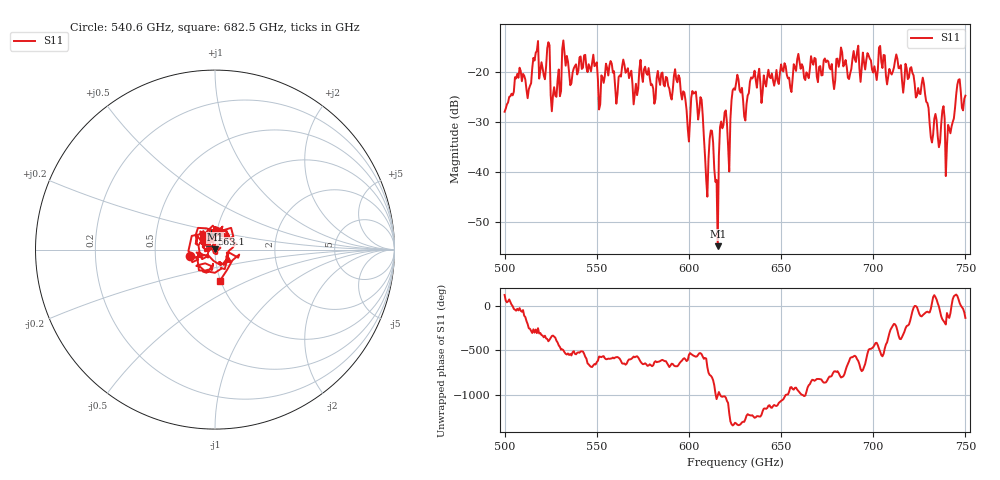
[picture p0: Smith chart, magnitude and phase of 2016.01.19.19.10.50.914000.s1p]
!Created with skrf (http://scikit-rf.org).
# GHz S RI R 50.0
!freq ReS11 ImS11
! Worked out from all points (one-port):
!   401 points, 500 GHz to 750 GHz, reference 50 ohm
!   lowest |S11| = -55.0 dB at 615.6 GHz (marker M1), VSWR 1.00, Z = 50 + j0.174 ohm
!   |S11| at or under -10 dB: start of sweep to end of sweep
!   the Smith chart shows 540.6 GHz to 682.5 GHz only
!   S11 on the Smith chart (normalised r, x): 540.6 GHz: 0.76, -0.06; 563.1 GHz: 0.95, +0.17; 682.5 GHz: 0.99, -0.36
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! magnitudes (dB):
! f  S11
! 500 GHz  -27.9
! 507.5 GHz  -21.1
! 513.1 GHz  -23.4
! 516.9 GHz  -16.1
! 523.1 GHz  -15.2
! 526.2 GHz  -24.6
! 531.2 GHz  -15.3
! 540.6 GHz  -17.0
! 562.5 GHz  -20.6
! 563.1 GHz  -20.8
! 593.8 GHz  -22.0
! 599.4 GHz  -31.3
! 606.2 GHz  -25.0
! 609.4 GHz  -41.6
! 611.9 GHz  -31.7
! 615.6 GHz  -55.0
! 618.1 GHz  -31.2
! 621.9 GHz  -39.9
! 625 GHz  -23.5
! 630.6 GHz  -29.7
! 634.4 GHz  -21.2
! 656.2 GHz  -21.3
! 682.5 GHz  -15.0
! 687.5 GHz  -20.2
! 718.8 GHz  -21.3
! 740.6 GHz  -30.6
! 746.2 GHz  -21.5
! 750 GHz  -24.7
